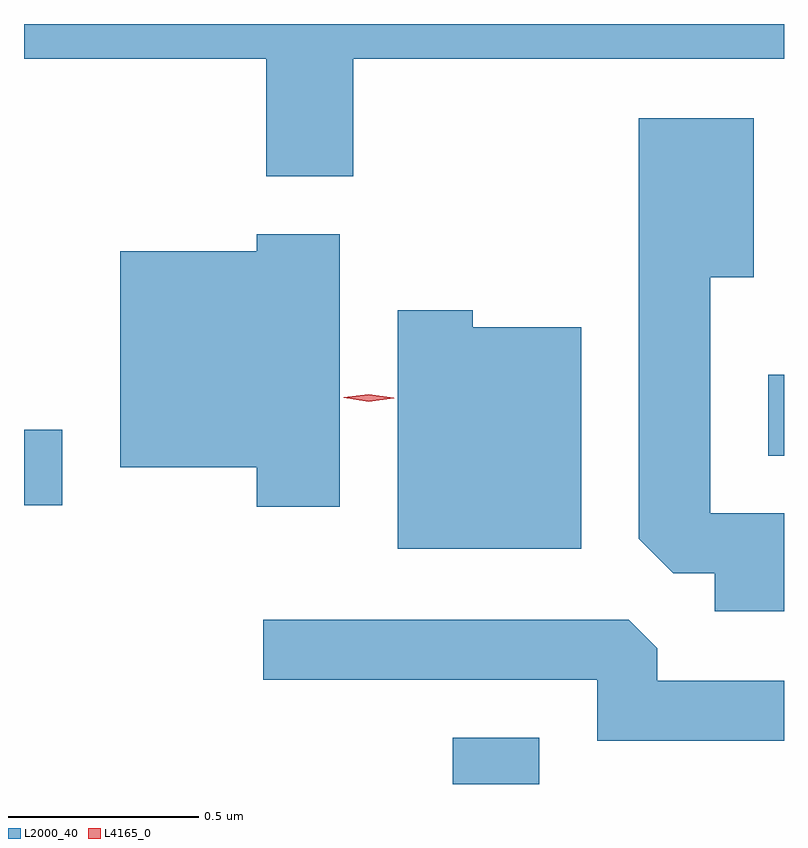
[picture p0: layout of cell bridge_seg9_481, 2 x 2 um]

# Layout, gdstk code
import gdstk
lib = gdstk.Library(unit=1e-6, precision=1e-09)
def R(c, l, rs):  # rectangles x0, y0, x1, y1
    for r in rs: c.add(gdstk.rectangle(r[:2], r[2:], *l))
def P(c, l, *ps):  # polygons
    for p in ps: c.add(gdstk.Polygon(p, *l))
L2000_40 = (2000, 40)
L4165_0 = (4165, 0)

bridge_seg9_481 = lib.new_cell('bridge_seg9_481')
R(bridge_seg9_481, L2000_40, [(322.371,1996.567,322.599,1996.689), (321.243,1997.301,321.344,1997.499), (323.201,1997.431,323.243,1997.644)])
P(bridge_seg9_481, L2000_40, [(322.109,1998.476),(323.243,1998.476),(323.243,1998.567),(321.243,1998.567),(321.243,1998.476),(321.881,1998.476),(321.881,1998.166),(322.109,1998.166)],
  [(323.243,1997.279),(323.049,1997.279),(323.049,1997.901),(323.164,1997.901),(323.164,1998.319),(322.861,1998.319),(322.861,1997.212),(322.952,1997.121),(323.061,1997.121),(323.061,1997.021),(323.243,1997.021)],
  [(322.074,1998.014),(321.856,1998.014),(321.856,1997.969),(321.496,1997.969),(321.496,1997.401),(321.856,1997.401),(321.856,1997.296),(322.074,1997.296)],
  [(322.709,1997.769),(322.424,1997.769),(322.424,1997.814),(322.226,1997.814),(322.226,1997.186),(322.709,1997.186)],
  [(323.243,1996.839),(322.909,1996.839),(322.909,1996.924),(322.834,1996.999),(321.873,1996.999),(321.873,1996.841),(322.751,1996.841),(322.751,1996.681),(323.243,1996.681)])
P(bridge_seg9_481, L4165_0, [(322.15,1997.573),(322.084,1997.584),(322.084,1997.584),(322.084,1997.585),(322.15,1997.593),(322.216,1997.583),(322.217,1997.582),(322.216,1997.582)])

lib.write_gds('bridge_seg9_481.gds')
